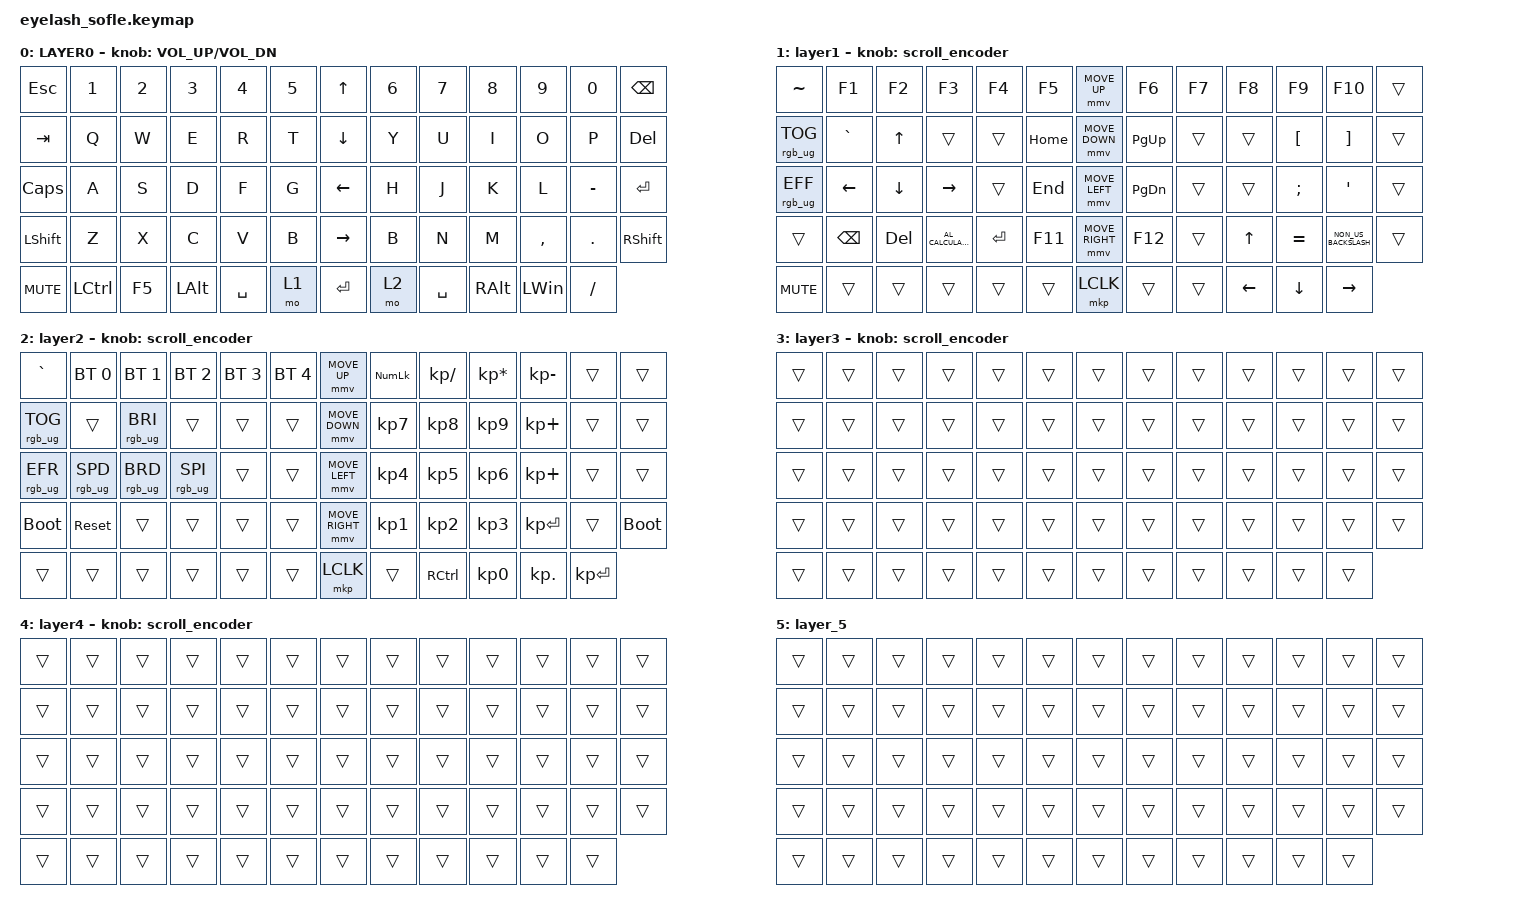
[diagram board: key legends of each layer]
#define ZMK_POINTING_DEFAULT_MOVE_VAL 1200  // 600
#define ZMK_POINTING_DEFAULT_SCRL_VAL 25   // 10

#include <input/processors.dtsi>
#include <zephyr/dt-bindings/input/input-event-codes.h>
#include <behaviors.dtsi>
#include <dt-bindings/zmk/bt.h>
#include <dt-bindings/zmk/keys.h>
#include <dt-bindings/zmk/pointing.h>
#include <dt-bindings/zmk/rgb.h>

&mmv_input_listener { input-processors = <&zip_xy_scaler 2 1>; };

&msc_input_listener { input-processors = <&zip_scroll_scaler 2 1>; };

&msc {
    acceleration-exponent = <1>;      // 0
    time-to-max-speed-ms = <100>;       // 300
    delay-ms = <0>;                   // 0
};

&mmv {
    time-to-max-speed-ms = <500>;
    acceleration-exponent = <1>;
    trigger-period-ms = <16>;
};

&soft_off { hold-time-ms = <2000>; };

/ {
    scroll_encoder: scroll_encoder {
        compatible = "zmk,behavior-sensor-rotate";
        #sensor-binding-cells = <0>;
        bindings = <&msc SCRL_DOWN>, <&msc SCRL_UP>;

        tap-ms = <100>;
    };

    behaviors {
    };

    combos {
        compatible = "zmk,combos";

        softoff {
            bindings = <&soft_off>;
            key-positions = <14 28 40>;
        };
    };

    keymap {
        compatible = "zmk,keymap";

        layer0 {
            bindings = <
&kp ESC     &kp N1     &kp N2  &kp N3        &kp N4     &kp N5    &kp UP_ARROW     &kp N6  &kp N7     &kp N8         &kp N9     &kp N0     &kp BACKSPACE
&kp TAB     &kp Q      &kp W   &kp E         &kp R      &kp T     &kp DOWN_ARROW   &kp Y   &kp U      &kp I          &kp O      &kp P      &kp DEL
&kp CAPS    &kp A      &kp S   &kp D         &kp F      &kp G     &kp LEFT_ARROW   &kp H   &kp J      &kp K          &kp L      &kp MINUS  &kp ENTER
&kp LSHFT   &kp Z      &kp X   &kp C         &kp V      &kp B     &kp RIGHT_ARROW  &kp B   &kp N      &kp M          &kp COMMA  &kp DOT    &kp RSHFT
&kp C_MUTE  &kp LCTRL  &kp F5  &kp LEFT_ALT  &kp SPACE  &mo 1     &kp ENTER        &mo 2   &kp SPACE  &kp RIGHT_ALT  &kp LWIN   &kp SLASH
            >;

            sensor-bindings = <&inc_dec_kp C_VOLUME_UP C_VOL_DN>;
            display-name = "LAYER0";
        };

        layer_1 {
            bindings = <
&kp TILDE        &kp F1         &kp F2    &kp F3               &kp F4     &kp F5      &mmv MOVE_UP     &kp F6     &kp F7  &kp F8        &kp F9            &kp F10               &trans
&rgb_ug RGB_TOG  &kp GRAVE      &kp UP    &trans               &trans     &kp HOME    &mmv MOVE_DOWN   &kp PG_UP  &trans  &trans        &kp LEFT_BRACKET  &kp RIGHT_BRACKET     &trans
&rgb_ug RGB_EFF  &kp LEFT       &kp DOWN  &kp RIGHT            &trans     &kp END     &mmv MOVE_LEFT   &kp PG_DN  &trans  &trans        &kp SEMICOLON     &kp SQT               &trans
&trans           &kp BACKSPACE  &kp DEL   &kp C_AL_CALCULATOR  &kp ENTER  &kp F11     &mmv MOVE_RIGHT  &kp F12    &trans  &kp UP_ARROW  &kp EQUAL         &kp NON_US_BACKSLASH  &trans
&kp C_MUTE       &trans         &trans    &trans               &trans     &trans      &mkp LCLK        &trans     &trans  &kp LEFT      &kp DOWN          &kp RIGHT
            >;

            display-name = "layer1";
            sensor-bindings = <&scroll_encoder>;
        };

        layer_2 {
            bindings = <
&kp GRAVE        &bt BT_SEL 0     &bt BT_SEL 1     &bt BT_SEL 2     &bt BT_SEL 3  &bt BT_SEL 4    &mmv MOVE_UP     &kp KP_NUMLOCK  &kp KP_SLASH  &kp KP_ASTERISK  &kp KP_MINUS  &trans        &trans
&rgb_ug RGB_TOG  &trans           &rgb_ug RGB_BRI  &trans           &trans        &trans          &mmv MOVE_DOWN   &kp KP_N7       &kp KP_N8     &kp KP_N9        &kp KP_PLUS   &trans        &trans
&rgb_ug RGB_EFR  &rgb_ug RGB_SPD  &rgb_ug RGB_BRD  &rgb_ug RGB_SPI  &trans        &trans          &mmv MOVE_LEFT   &kp KP_N4       &kp KP_N5     &kp KP_N6        &kp KP_PLUS   &trans        &trans
&bootloader      &sys_reset       &trans           &trans           &trans        &trans          &mmv MOVE_RIGHT  &kp KP_N1       &kp KP_N2     &kp KP_N3        &kp KP_ENTER  &trans        &bootloader
&trans           &trans           &trans           &trans           &trans        &trans          &mkp LCLK        &trans          &kp RCTRL     &kp KP_N0        &kp KP_DOT    &kp KP_ENTER
            >;

            display-name = "layer2";
            sensor-bindings = <&scroll_encoder>;
        };

        layer_3 {
            bindings = <
&trans  &trans  &trans  &trans  &trans  &trans    &trans  &trans  &trans  &trans  &trans  &trans  &trans
&trans  &trans  &trans  &trans  &trans  &trans    &trans  &trans  &trans  &trans  &trans  &trans  &trans
&trans  &trans  &trans  &trans  &trans  &trans    &trans  &trans  &trans  &trans  &trans  &trans  &trans
&trans  &trans  &trans  &trans  &trans  &trans    &trans  &trans  &trans  &trans  &trans  &trans  &trans
&trans  &trans  &trans  &trans  &trans  &trans    &trans  &trans  &trans  &trans  &trans  &trans
            >;

            display-name = "layer3";
            sensor-bindings = <&scroll_encoder>;
        };

        layer_4 {
            bindings = <
&trans  &trans  &trans  &trans  &trans  &trans    &trans  &trans  &trans  &trans  &trans  &trans  &trans
&trans  &trans  &trans  &trans  &trans  &trans    &trans  &trans  &trans  &trans  &trans  &trans  &trans
&trans  &trans  &trans  &trans  &trans  &trans    &trans  &trans  &trans  &trans  &trans  &trans  &trans
&trans  &trans  &trans  &trans  &trans  &trans    &trans  &trans  &trans  &trans  &trans  &trans  &trans
&trans  &trans  &trans  &trans  &trans  &trans    &trans  &trans  &trans  &trans  &trans  &trans
            >;

            display-name = "layer4";
            sensor-bindings = <&scroll_encoder>;
        };

        layer_5 {
            bindings = <
&trans  &trans  &trans  &trans  &trans  &trans    &trans  &trans  &trans  &trans  &trans  &trans  &trans
&trans  &trans  &trans  &trans  &trans  &trans    &trans  &trans  &trans  &trans  &trans  &trans  &trans
&trans  &trans  &trans  &trans  &trans  &trans    &trans  &trans  &trans  &trans  &trans  &trans  &trans
&trans  &trans  &trans  &trans  &trans  &trans    &trans  &trans  &trans  &trans  &trans  &trans  &trans
&trans  &trans  &trans  &trans  &trans  &trans    &trans  &trans  &trans  &trans  &trans  &trans
            >;
        };
    };
};
